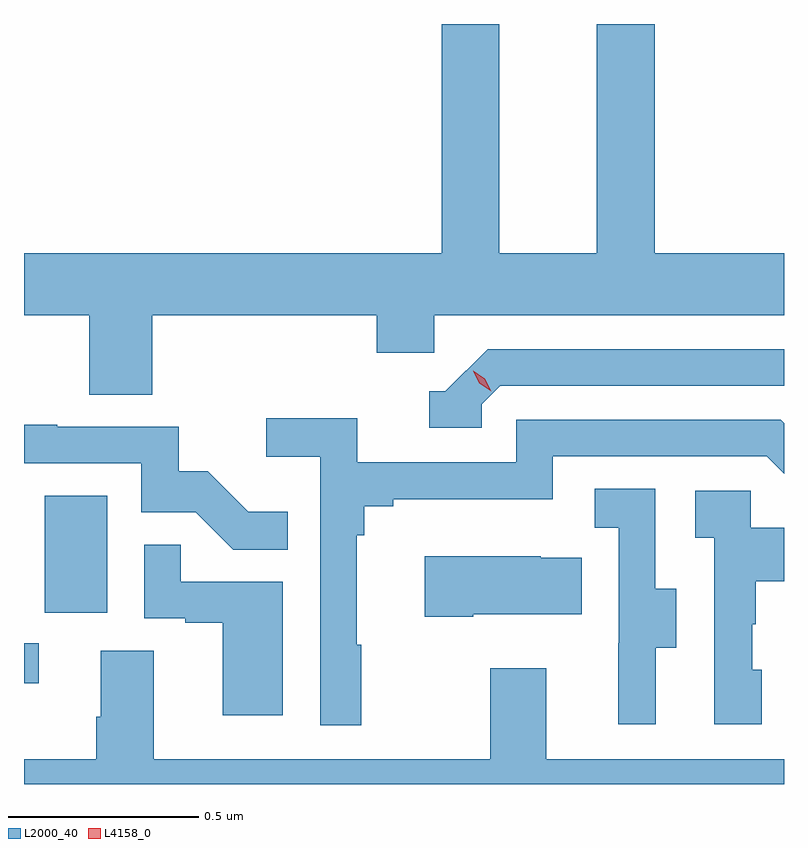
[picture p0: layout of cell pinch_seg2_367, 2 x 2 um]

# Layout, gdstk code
import gdstk
lib = gdstk.Library(unit=1e-6, precision=1e-09)
def R(c, l, rs):  # rectangles x0, y0, x1, y1
    for r in rs: c.add(gdstk.rectangle(r[:2], r[2:], *l))
def P(c, l, *ps):  # polygons
    for p in ps: c.add(gdstk.Polygon(p, *l))
L2000_40 = (2000, 40)
L4158_0 = (4158, 0)

pinch_seg2_367 = lib.new_cell('pinch_seg2_367')
R(pinch_seg2_367, L2000_40, [(1001.983,633.348,1002.022,633.453), (1002.038,633.534,1002.202,633.841)])
P(pinch_seg2_367, L2000_40, [(1002.32,634.316),(1002.911,634.316),(1002.911,634.218),(1003.062,634.218),(1003.062,634.316),(1003.983,634.316),(1003.983,634.48),(1003.643,634.48),(1003.643,635.083),(1003.49,635.083),(1003.49,634.48),(1003.234,634.48),(1003.234,635.083),(1003.082,635.083),(1003.082,634.48),(1001.983,634.48),(1001.983,634.316),(1002.155,634.316),(1002.155,634.108),(1002.32,634.108)],
  [(1003.188,634.083),(1003.236,634.131),(1003.983,634.131),(1003.983,634.227),(1003.203,634.227),(1003.092,634.116),(1003.049,634.116),(1003.049,634.02),(1003.188,634.02)],
  [(1002.871,633.449),(1002.859,633.449),(1002.859,633.737),(1002.878,633.737),(1002.878,633.814),(1002.955,633.814),(1002.955,633.833),(1003.374,633.833),(1003.374,633.945),(1003.938,633.945),(1003.983,633.9),(1003.983,634.033),(1003.975,634.041),(1003.278,634.041),(1003.278,633.93),(1002.86,633.93),(1002.86,634.046),(1002.621,634.046),(1002.621,633.944),(1002.762,633.944),(1002.762,633.237),(1002.871,633.237)],
  [(1002.677,633.799),(1002.573,633.799),(1002.466,633.906),(1002.39,633.906),(1002.39,634.023),(1002.071,634.023),(1002.071,634.028),(1001.983,634.028),(1001.983,633.927),(1002.291,633.927),(1002.291,633.798),(1002.435,633.798),(1002.533,633.7),(1002.677,633.7)],
  [(1003.645,633.442),(1003.699,633.442),(1003.699,633.597),(1003.644,633.597),(1003.644,633.86),(1003.485,633.86),(1003.485,633.757),(1003.548,633.757),(1003.548,633.453),(1003.547,633.453),(1003.547,633.24),(1003.645,633.24)],
  [(1003.924,633.384),(1003.899,633.384),(1003.899,633.503),(1003.909,633.503),(1003.909,633.617),(1003.983,633.617),(1003.983,633.757),(1003.896,633.757),(1003.896,633.855),(1003.749,633.855),(1003.749,633.731),(1003.8,633.731),(1003.8,633.24),(1003.924,633.24)],
  [(1002.664,633.615),(1002.395,633.615),(1002.395,633.713),(1002.3,633.713),(1002.3,633.519),(1002.407,633.519),(1002.407,633.507),(1002.506,633.507),(1002.506,633.264),(1002.664,633.264)],
  [(1003.165,633.53),(1003.451,633.53),(1003.451,633.679),(1003.343,633.679),(1003.343,633.682),(1003.037,633.682),(1003.037,633.523),(1003.165,633.523)],
  [(1003.983,633.148),(1003.357,633.148),(1003.357,633.388),(1003.21,633.388),(1003.21,633.148),(1002.325,633.148),(1002.325,633.434),(1002.185,633.434),(1002.185,633.26),(1002.173,633.26),(1002.173,633.148),(1001.983,633.148),(1001.983,633.083),(1003.983,633.083)])
P(pinch_seg2_367, L4158_0, [(1003.212,634.117),(1003.181,634.137),(1003.165,634.169),(1003.165,634.17),(1003.165,634.17),(1003.196,634.15),(1003.212,634.117),(1003.212,634.117)])

lib.write_gds('pinch_seg2_367.gds')
